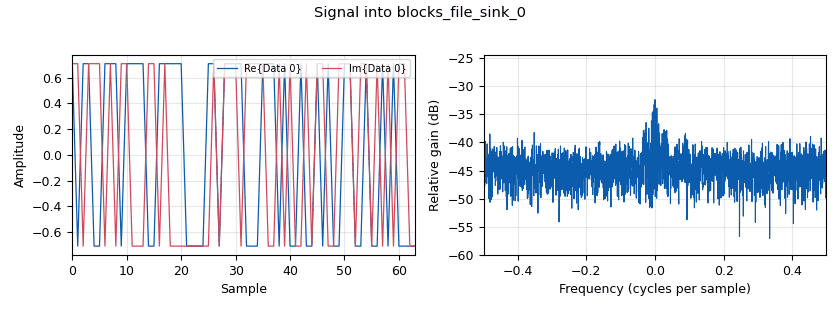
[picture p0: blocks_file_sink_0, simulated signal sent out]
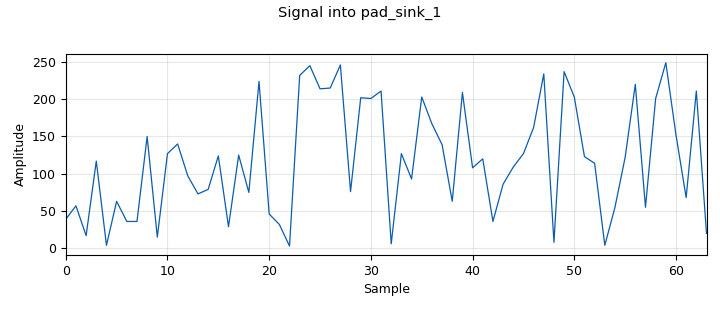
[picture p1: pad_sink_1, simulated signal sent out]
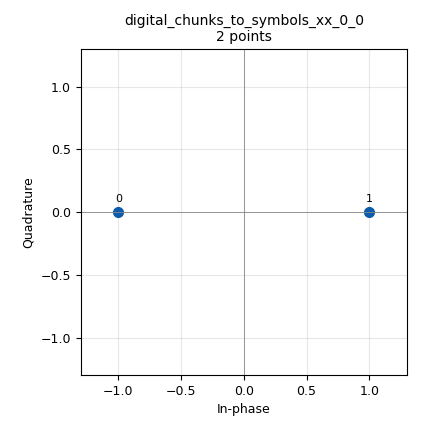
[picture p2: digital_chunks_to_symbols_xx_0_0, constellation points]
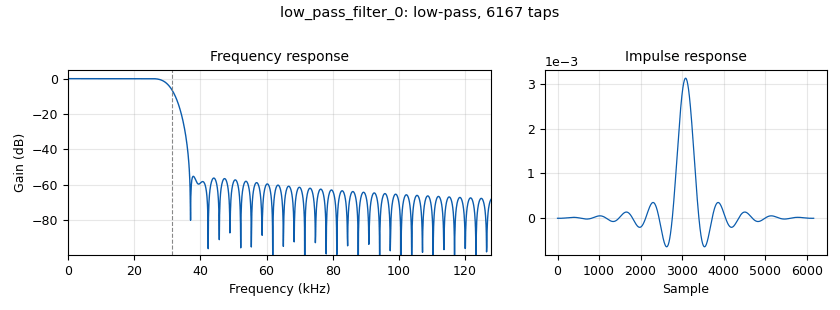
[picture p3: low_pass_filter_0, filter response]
options:
  parameters:
    author: Alyse Jones and William "Chris" Headley
    category: '[RL OFDM DSA]'
    generate_options: hb
    id: ofdm_tx_hier
    output_language: python
    run_options: run
    title: OFDM Transmitter Hierarchical
  states: {}

blocks:
- name: all_carriers
  id: variable
  parameters:
    value: '[*range(-int(fft_len/2)+ceil(num_guard/2),0),*range(1,int(fft_len/2)-floor(num_guard/2))]'
  states: {}
- name: cp_len
  id: variable
  parameters:
    value: int(fft_len/4)
  states: {}
- name: fft_len
  id: variable
  parameters:
    value: '64'
  states: {}
- name: guard_interval_time
  id: variable
  parameters:
    value: (1/((1/cp_len)*(signal_samp_rate)))
  states: {}
- name: header_formatter
  id: variable
  parameters:
    value: digital.packet_header_ofdm([occupied_carriers], n_syms=num_header_symbs, len_tag_key=packet_length_tag_key, frame_len_tag_key=length_tag_key, bits_per_header_sym=header_mod.bits_per_symbol(), bits_per_payload_sym=payload_mod.bits_per_symbol(), scramble_header=False)
  states: {}
- name: header_len_bits
  id: variable
  parameters:
    value: num_header_symbs*num_occupied
  states: {}
- name: header_mod
  id: variable_constellation
  parameters:
    precision: '8'
    type: bpsk
  states: {}
- name: ifft_time
  id: variable
  parameters:
    value: 1/(signal_samp_rate/fft_len)
  states: {}
- name: length_tag_key
  id: variable
  parameters:
    value: '"frame_len"'
  states: {}
- name: num_guard
  id: variable
  parameters:
    value: '11'
  states: {}
- name: num_header_symbs
  id: variable
  parameters:
    value: '1'
  states: {}
- name: num_occupied
  id: variable
  parameters:
    value: len(occupied_carriers)
  states: {}
- name: num_payload_symbs
  id: variable
  parameters:
    value: len(occupied_carrier_set)-1
  states: {}
- name: num_pilots
  id: variable
  parameters:
    value: len(pilot_carriers)
  states: {}
- name: occupied_carrier_set
  id: variable
  parameters:
    value: ((occupied_carriers), (occupied_carriers),(occupied_carriers),(occupied_carriers),(occupied_carriers),(occupied_carriers),(occupied_carriers),(occupied_carriers),)
  states: {}
- name: occupied_carriers
  id: variable
  parameters:
    value: '[ x for x in all_carriers if x not in set(pilot_carriers)]'
  states: {}
- name: ofdm_symbol_duration
  id: variable
  parameters:
    value: (1/((1/(fft_len+cp_len))*(signal_samp_rate)))
  states: {}
- name: ofdm_symbol_throughput
  id: variable
  parameters:
    value: num_occupied*1*(1/2)*1/(ofdm_symbol_duration)
  states: {}
- name: packet_len_bytes
  id: variable
  parameters:
    value: int(num_payload_symbs*(num_occupied*log2(len(payload_mod.points())))/8)-4
  states: {}
- name: packet_length_tag_key
  id: variable
  parameters:
    value: '"packet_len"'
  states: {}
- name: payload_mod
  id: variable_constellation
  parameters:
    const_points: '[(-1-1j)/sqrt(2), ( -1+1j)/sqrt(2), (1+1j)/sqrt(2), (1-1j)/sqrt(2)]'
    dims: '1'
    normalization: digital.constellation.AMPLITUDE_NORMALIZATION
    precision: '8'
    rot_sym: '4'
    sym_map: '[0, 1, 3, 2]'
    type: calcdist
  states: {}
- name: pilot_carrier_set
  id: variable
  parameters:
    value: ((pilot_carriers),(pilot_carriers),(pilot_carriers),(pilot_carriers),(pilot_carriers),(pilot_carriers),(pilot_carriers),(pilot_carriers),)
  states: {}
- name: pilot_carriers
  id: variable
  parameters:
    value: '[-21,-7,7,21]'
  states: {}
- name: pilot_symbol_set
  id: variable
  parameters:
    value: ((pilot_symbols),(pilot_symbols),(pilot_symbols),(pilot_symbols),(pilot_symbols),(pilot_symbols),(pilot_symbols),(pilot_symbols),)
  states: {}
- name: pilot_symbols
  id: variable
  parameters:
    value: '[1.0] * num_pilots'
  states: {}
- name: sc_spacing
  id: variable
  parameters:
    value: signal_samp_rate/fft_len
  states: {}
- name: sync_symbol_time
  id: variable
  parameters:
    value: training_symbol_time + 2*ifft_time
  states: {}
- name: sync_word_0
  id: variable
  parameters:
    value: '[0, 0, 0, 0, 0, 0, 0, -1.4142135623730951, 0, -1.4142135623730951, 0, 1.4142135623730951, 0, 1.4142135623730951, 0, 1.4142135623730951, 0, -1.4142135623730951, 0, -1.4142135623730951, 0, 1.4142135623730951, 0, 1.4142135623730951, 0, -1.4142135623730951, 0, 1.4142135623730951, 0, 1.4142135623730951, 0, -1.4142135623730951, 0, -1.4142135623730951, 0, -1.4142135623730951, 0, 1.4142135623730951, 0, 1.4142135623730951, 0, 1.4142135623730951, 0, -1.4142135623730951, 0, 1.4142135623730951, 0, 1.4142135623730951, 0, 1.4142135623730951, 0, 1.4142135623730951, 0, -1.4142135623730951, 0, 1.4142135623730951, 0, -1.4142135623730951, 0, 0, 0, 0, 0, 0]'
  states: {}
- name: sync_word_1
  id: variable
  parameters:
    value: '[0, 0, 0, 0, 0, 0, -1, -1, 1, -1, -1, -1, -1, 1, -1, 1, 1, -1, 1, 1, -1, 1, -1, 1, -1, 1, -1, 1, -1, 1, -1, 1, 0, -1, 1, -1, 1, -1, 1, -1, -1, 1, 1, -1, -1, 1, -1, -1, -1, -1, 1, 1, 1, -1, 1, -1, -1, 1, 1, 0, 0, 0, 0, 0]'
  states: {}
- name: total_ofdm_symbs
  id: variable
  parameters:
    value: num_payload_symbs+num_header_symbs+2
  states: {}
- name: total_throughput
  id: variable
  parameters:
    value: 8*ofdm_symbol_throughput*(140.8e-3)
  states: {}
- name: training_symbol_time
  id: variable
  parameters:
    value: ifft_time/2
  states: {}
- name: analog_const_source_x_0
  id: analog_const_source_x
  parameters:
    const: '0'
    type: short
  states: {}
- name: analog_const_source_x_0_0
  id: analog_const_source_x
  parameters:
    const: '1'
    type: short
  states: {}
- name: analog_const_source_x_0_1
  id: analog_const_source_x
  parameters:
    const: '0'
    type: short
  states: {}
- name: analog_random_source_x_0
  id: analog_random_source_x
  parameters:
    max: '256'
    min: '0'
    num_samps: packet_len_bytes*1000
    repeat: 'True'
    type: byte
  states: {}
- name: analog_sig_source_x_0
  id: analog_sig_source_x
  parameters:
    amp: '1.0'
    freq: cent_freq
    offset: '0'
    phase: '0.0'
    samp_rate: wide_samp_rate
    type: complex
    waveform: analog.GR_COS_WAVE
  states: {}
- name: back_pad
  id: parameter
  parameters:
    value: '500'
  states: {}
- name: blocks_burst_tagger_0
  id: blocks_burst_tagger
  parameters:
    false_key: burst_end
    false_value: 'False'
    true_key: burst_start
    true_value: 'True'
    type: complex
  states: {}
- name: blocks_file_sink_0
  id: blocks_file_sink
  parameters:
    file: ../data/symbols.dat
    type: complex
  states: {}
- name: blocks_multiply_xx_0
  id: blocks_multiply_xx
  parameters:
    type: complex
  states: {}
- name: blocks_repack_bits_bb_1
  id: blocks_repack_bits_bb
  parameters:
    endianness: gr.GR_LSB_FIRST
    k: '8'
    l: payload_mod.bits_per_symbol()
    len_tag_key: packet_length_tag_key
  states: {}
- name: blocks_stream_mux_0
  id: blocks_stream_mux
  parameters:
    lengths: (int(front_pad-0.1*front_pad),int((total_ofdm_symbs)*(fft_len+cp_len)+0.1*front_pad+0.1*back_pad), int(back_pad-0.1*back_pad))
    num_inputs: '3'
    type: short
  states: {}
- name: blocks_stream_to_tagged_stream_0
  id: blocks_stream_to_tagged_stream
  parameters:
    len_tag_key: packet_length_tag_key
    packet_len: packet_len_bytes
    type: byte
  states: {}
- name: blocks_tagged_stream_mux_0
  id: blocks_tagged_stream_mux
  parameters:
    lengthtagname: packet_length_tag_key
    ninputs: '2'
    type: complex
  states: {}
- name: cent_freq
  id: parameter
  parameters:
    type: eng_float
    value: '0'
  states: {}
- name: digital_burst_shaper_xx_0
  id: digital_burst_shaper_xx
  parameters:
    insert_phasing: 'False'
    length_tag_name: '"packet_len"'
    post_padding: back_pad
    pre_padding: front_pad
    type: complex
    window: firdes.window(5,10,6.76)
  states: {}
- name: digital_chunks_to_symbols_xx_0
  id: digital_chunks_to_symbols_xx
  parameters:
    dimension: '1'
    in_type: byte
    out_type: complex
    symbol_table: payload_mod.points()
  states: {}
- name: digital_chunks_to_symbols_xx_0_0
  id: digital_chunks_to_symbols_xx
  parameters:
    dimension: '1'
    in_type: byte
    out_type: complex
    symbol_table: header_mod.points()
  states: {}
- name: digital_crc32_bb_0
  id: digital_crc32_bb
  parameters:
    check: 'False'
    lengthtagname: packet_length_tag_key
    packed: 'True'
  states: {}
- name: digital_ofdm_carrier_allocator_cvc_0
  id: digital_ofdm_carrier_allocator_cvc
  parameters:
    fft_len: fft_len
    len_tag_key: packet_length_tag_key
    occupied_carriers: occupied_carrier_set
    output_is_shifted: 'True'
    pilot_carriers: pilot_carrier_set
    pilot_symbols: pilot_symbol_set
    sync_words: ((sync_word_0),(sync_word_1),)
  states: {}
- name: digital_ofdm_cyclic_prefixer_0
  id: digital_ofdm_cyclic_prefixer
  parameters:
    cp_len: cp_len
    input_size: fft_len
    tagname: packet_length_tag_key
  states: {}
- name: digital_packet_headergenerator_bb_0
  id: digital_packet_headergenerator_bb
  parameters:
    header_formatter: header_formatter.base()
    len_tag_key: packet_length_tag_key
  states: {}
- name: fft_vxx_0
  id: fft_vxx
  parameters:
    fft_size: fft_len
    forward: 'False'
    shift: 'True'
    type: complex
    window: ()
  states: {}
- name: front_pad
  id: parameter
  parameters:
    value: '500'
  states: {}
- name: import_0
  id: import
  parameters:
    imports: from math import sqrt
  states: {}
- name: import_0_0
  id: import
  parameters:
    imports: from math import log2
  states: {}
- name: import_0_1
  id: import
  parameters:
    imports: from math import ceil
  states: {}
- name: import_0_1_0
  id: import
  parameters:
    imports: from math import floor
  states: {}
- name: low_pass_filter_0
  id: low_pass_filter
  parameters:
    cutoff_freq: signal_samp_rate/2
    gain: '1'
    interp: '1'
    samp_rate: wide_samp_rate
    type: interp_fir_filter_ccf
    width: 0.25*signal_samp_rate/2
    win: window.WIN_HAMMING
  states: {}
- name: mmse_resampler_xx_0
  id: mmse_resampler_xx
  parameters:
    phase_shift: '0'
    resamp_ratio: signal_samp_rate/wide_samp_rate
    type: complex
  states: {}
- name: note_0
  id: note
  parameters:
    note: Derived Variables
  states: {}
- name: note_0_0
  id: note
  parameters:
    note: Fixed Variables
  states: {}
- name: note_0_0_0
  id: note
  parameters:
    note: Tunable Variables
  states: {}
- name: pad_sink_0
  id: pad_sink
  parameters:
    label: tx_out
    type: complex
  states: {}
- name: pad_sink_1
  id: pad_sink
  parameters:
    label: tx_bits_out
    optional: 'True'
    type: byte
  states: {}
- name: pad_source_0
  id: pad_source
  parameters:
    label: cent_freq
    optional: 'True'
    type: message
  states: {}
- name: signal_samp_rate
  id: parameter
  parameters:
    type: eng_float
    value: 1e6/16
  states: {}
- name: virtual_sink_0
  id: virtual_sink
  parameters:
    stream_id: tx_symbs
  states: {}
- name: virtual_sink_1
  id: virtual_sink
  parameters:
    stream_id: sig_samps
  states: {}
- name: virtual_sink_2
  id: virtual_sink
  parameters:
    stream_id: tx_bits_out
  states: {}
- name: virtual_source_0
  id: virtual_source
  parameters:
    stream_id: sig_samps
  states: {}
- name: virtual_source_1
  id: virtual_source
  parameters:
    stream_id: tx_symbs
  states: {}
- name: virtual_source_2
  id: virtual_source
  parameters:
    stream_id: tx_bits_out
  states: {}
- name: wide_samp_rate
  id: parameter
  parameters:
    type: eng_float
    value: 20e6
  states: {}

connections:
- [analog_const_source_x_0, '0', blocks_stream_mux_0, '0']
- [analog_const_source_x_0_0, '0', blocks_stream_mux_0, '1']
- [analog_const_source_x_0_1, '0', blocks_stream_mux_0, '2']
- [analog_random_source_x_0, '0', blocks_stream_to_tagged_stream_0, '0']
- [analog_random_source_x_0, '0', virtual_sink_2, '0']
- [analog_sig_source_x_0, '0', blocks_multiply_xx_0, '1']
- [blocks_burst_tagger_0, '0', virtual_sink_1, '0']
- [blocks_multiply_xx_0, '0', pad_sink_0, '0']
- [blocks_repack_bits_bb_1, '0', digital_chunks_to_symbols_xx_0, '0']
- [blocks_stream_mux_0, '0', blocks_burst_tagger_0, '1']
- [blocks_stream_to_tagged_stream_0, '0', digital_crc32_bb_0, '0']
- [blocks_tagged_stream_mux_0, '0', blocks_file_sink_0, '0']
- [blocks_tagged_stream_mux_0, '0', virtual_sink_0, '0']
- [digital_burst_shaper_xx_0, '0', blocks_burst_tagger_0, '0']
- [digital_chunks_to_symbols_xx_0, '0', blocks_tagged_stream_mux_0, '1']
- [digital_chunks_to_symbols_xx_0_0, '0', blocks_tagged_stream_mux_0, '0']
- [digital_crc32_bb_0, '0', blocks_repack_bits_bb_1, '0']
- [digital_crc32_bb_0, '0', digital_packet_headergenerator_bb_0, '0']
- [digital_ofdm_carrier_allocator_cvc_0, '0', fft_vxx_0, '0']
- [digital_ofdm_cyclic_prefixer_0, '0', digital_burst_shaper_xx_0, '0']
- [digital_packet_headergenerator_bb_0, '0', digital_chunks_to_symbols_xx_0_0, '0']
- [fft_vxx_0, '0', digital_ofdm_cyclic_prefixer_0, '0']
- [low_pass_filter_0, '0', blocks_multiply_xx_0, '0']
- [mmse_resampler_xx_0, '0', low_pass_filter_0, '0']
- [pad_source_0, out, analog_sig_source_x_0, cmd]
- [virtual_source_0, '0', mmse_resampler_xx_0, '0']
- [virtual_source_1, '0', digital_ofdm_carrier_allocator_cvc_0, '0']
- [virtual_source_2, '0', pad_sink_1, '0']

metadata:
  file_format: 1
  grc_version: 3.10.4.0
